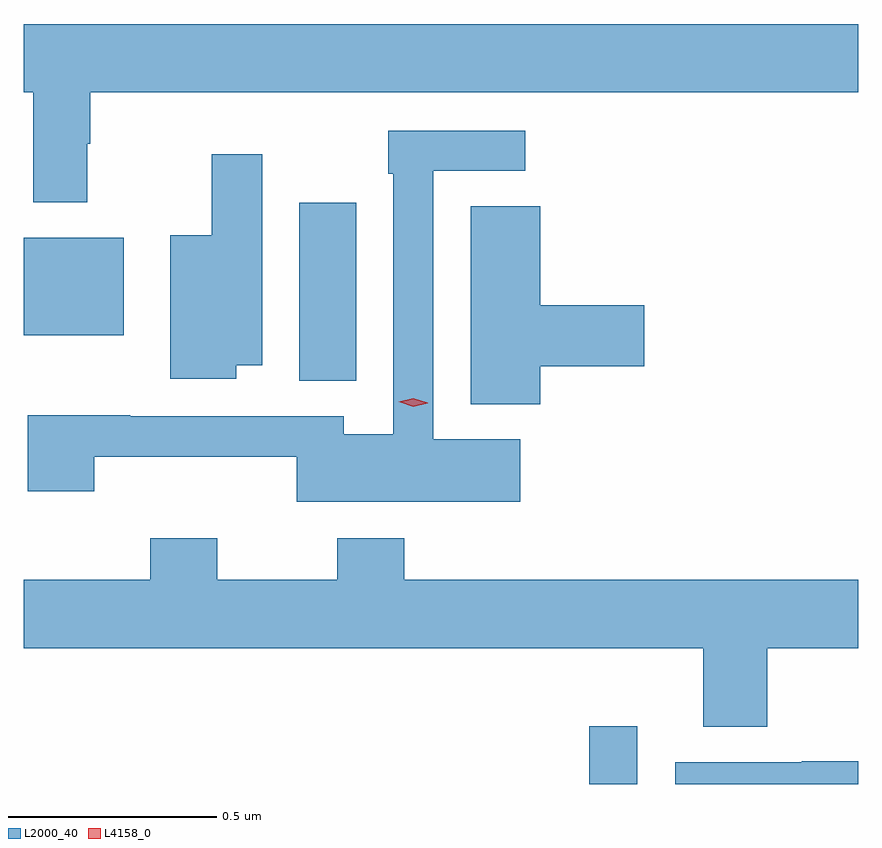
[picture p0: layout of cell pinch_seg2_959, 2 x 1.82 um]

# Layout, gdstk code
import gdstk
lib = gdstk.Library(unit=1e-6, precision=1e-09)
def R(c, l, rs):  # rectangles x0, y0, x1, y1
    for r in rs: c.add(gdstk.rectangle(r[:2], r[2:], *l))
def P(c, l, *ps):  # polygons
    for p in ps: c.add(gdstk.Polygon(p, *l))
L2000_40 = (2000, 40)
L4158_0 = (4158, 0)

pinch_seg2_959 = lib.new_cell('pinch_seg2_959')
R(pinch_seg2_959, L2000_40, [(256.621,651.306,256.737,651.445), (255.926,652.273,256.063,652.699), (255.266,652.382,255.505,652.615)])
P(pinch_seg2_959, L2000_40, [(255.418,652.841),(255.425,652.841),(255.425,652.964),(257.266,652.964),(257.266,653.128),(255.266,653.128),(255.266,652.964),(255.289,652.964),(255.289,652.701),(255.418,652.701)],
  [(256.456,652.132),(256.248,652.132),(256.248,652.776),(256.468,652.776),(256.468,652.872),(256.14,652.872),(256.14,652.769),(256.152,652.769),(256.152,652.144),(256.033,652.144),(256.033,652.188),(255.521,652.188),(255.521,652.19),(255.275,652.19),(255.275,652.008),(255.435,652.008),(255.435,652.091),(255.92,652.091),(255.92,651.983),(256.456,651.983)],
  [(255.775,652.31),(255.838,652.31),(255.838,652.816),(255.716,652.816),(255.716,652.621),(255.617,652.621),(255.617,652.277),(255.775,652.277)],
  [(256.504,652.307),(256.753,652.307),(256.753,652.454),(256.504,652.454),(256.504,652.691),(256.337,652.691),(256.337,652.217),(256.504,652.217)],
  [(257.048,651.632),(257.266,651.632),(257.266,651.796),(256.178,651.796),(256.178,651.895),(256.017,651.895),(256.017,651.796),(255.729,651.796),(255.729,651.895),(255.569,651.895),(255.569,651.796),(255.266,651.796),(255.266,651.632),(256.895,651.632),(256.895,651.443),(257.048,651.443)],
  [(257.266,651.361),(257.131,651.361),(257.131,651.358),(256.827,651.358),(256.827,651.306),(257.266,651.306)])
P(pinch_seg2_959, L4158_0, [(256.199,652.211),(256.165,652.222),(256.165,652.222),(256.165,652.222),(256.2,652.231),(256.234,652.22),(256.234,652.22),(256.234,652.219)])

lib.write_gds('pinch_seg2_959.gds')
